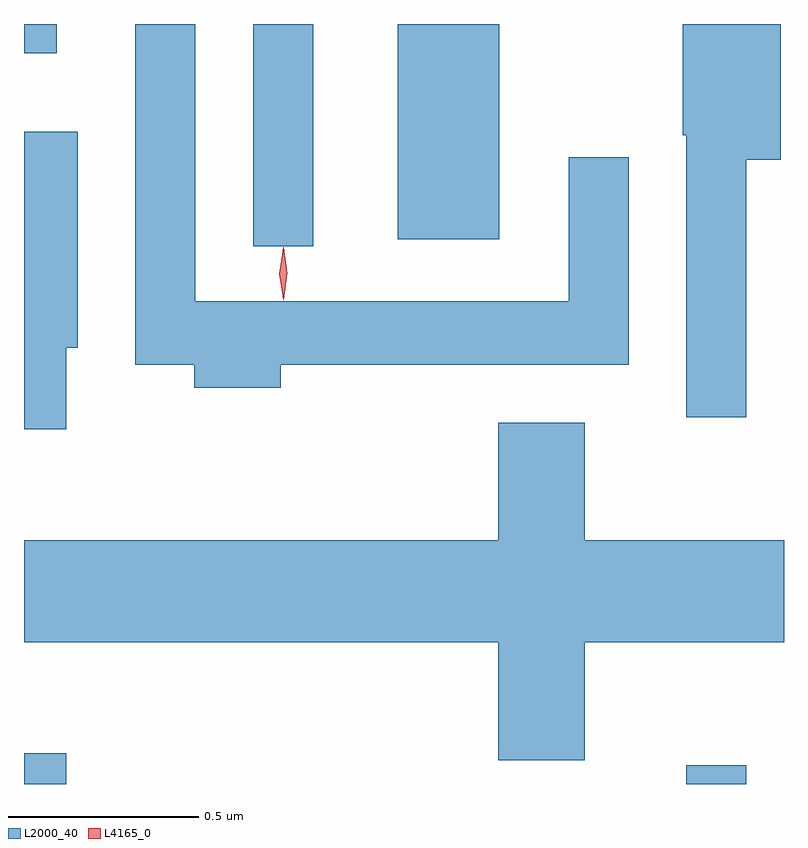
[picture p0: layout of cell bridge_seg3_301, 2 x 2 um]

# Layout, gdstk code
import gdstk
lib = gdstk.Library(unit=1e-6, precision=1e-09)
def R(c, l, rs):  # rectangles x0, y0, x1, y1
    for r in rs: c.add(gdstk.rectangle(r[:2], r[2:], *l))
def P(c, l, *ps):  # polygons
    for p in ps: c.add(gdstk.Polygon(p, *l))
L2000_40 = (2000, 40)
L4165_0 = (4165, 0)

bridge_seg3_301 = lib.new_cell('bridge_seg3_301')
R(bridge_seg3_301, L2000_40, [(1070.083,1121.203,1070.194,1121.284), (1071.826,1121.203,1071.984,1121.253), (1070.686,1122.618,1070.844,1123.203), (1071.066,1122.636,1071.334,1123.203), (1070.083,1123.126,1070.169,1123.203)])
P(bridge_seg3_301, L2000_40, [(1070.759,1122.306),(1071.674,1122.306),(1071.674,1122.853),(1071.516,1122.853),(1071.516,1122.474),(1070.534,1122.474),(1070.534,1123.203),(1070.376,1123.203),(1070.376,1122.306),(1070.531,1122.306),(1070.531,1122.246),(1070.759,1122.246)],
  [(1071.984,1122.846),(1072.074,1122.846),(1072.074,1123.203),(1071.816,1123.203),(1071.816,1122.91),(1071.826,1122.91),(1071.826,1122.168),(1071.984,1122.168)],
  [(1070.194,1122.351),(1070.224,1122.351),(1070.224,1122.919),(1070.083,1122.919),(1070.083,1122.136),(1070.194,1122.136)],
  [(1071.559,1121.576),(1072.083,1121.576),(1072.083,1121.844),(1071.559,1121.844),(1071.559,1122.154),(1071.331,1122.154),(1071.331,1121.844),(1070.083,1121.844),(1070.083,1121.576),(1071.331,1121.576),(1071.331,1121.266),(1071.559,1121.266)])
P(bridge_seg3_301, L4165_0, [(1070.765,1122.477),(1070.756,1122.547),(1070.765,1122.616),(1070.766,1122.616),(1070.766,1122.616),(1070.776,1122.547),(1070.766,1122.477),(1070.766,1122.477)],
  [(1070.765,1122.479),(1070.765,1122.48),(1070.755,1122.546),(1070.765,1122.612),(1070.765,1122.613),(1070.766,1122.612),(1070.775,1122.546),(1070.766,1122.48)])

lib.write_gds('bridge_seg3_301.gds')
